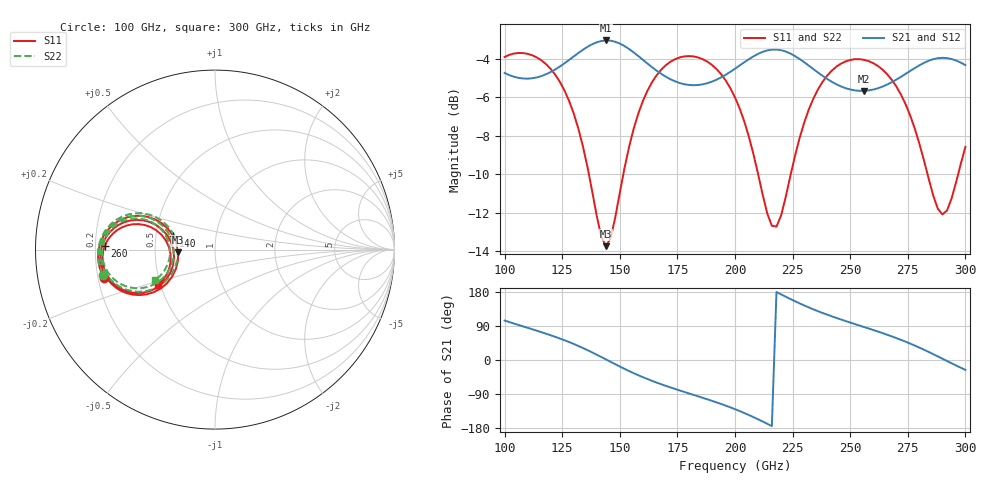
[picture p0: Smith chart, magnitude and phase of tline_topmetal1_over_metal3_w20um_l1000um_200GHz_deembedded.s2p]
! Created with skrf 2.0.1 (http://scikit-rf.org).
# GHz S DB R 50.0
!freq dBS11 angS11 dBS21 angS21 dBS12 angS12 dBS22 angS22
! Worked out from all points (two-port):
!   101 points, 100 GHz to 300 GHz, reference 50 ohm
!   highest |S21| = -3.05 dB at 144 GHz (marker M1); lowest = -5.7 dB at 256 GHz (marker M2)
!   |S21| within 3 dB of the highest: start of sweep to end of sweep
!   lowest |S11| = -13.7 dB at 144 GHz (marker M3), VSWR 1.52, Z = 32.9 - j0.962 ohm
!   |S11| at or under -10 dB: 136.6 GHz to 151.5 GHz (14.94 GHz wide, 10.4 % of centre); 210.1 GHz to 224.2 GHz (14.14 GHz wide, 6.51 % of centre); 283.6 GHz to 296.8 GHz (13.26 GHz wide, 4.57 % of centre)
!   |S22| runs from -13.7 to -3.7 dB; largest |S21 - S12| = 7.7e-14
!   S11 on the Smith chart (normalised r, x): 100 GHz: 0.22, -0.12; 140 GHz: 0.61, +0.10; 260 GHz: 0.24, +0.02; 300 GHz: 0.49, -0.22
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100  -3.91 -165.6  -4.74 104.1  -4.74 104.1  -3.91 -167.1
116  -4.09 172.8  -4.90 73.4  -4.90 73.4  -4.09 171.0
126  -5.65 159.9  -4.24 52.1  -4.24 52.1  -5.66 157.9
134  -8.55 153.2  -3.53 31.6  -3.53 31.6  -8.55 151.2
140  -12.16 161.7  -3.15 14.0  -3.15 14.0  -12.16 159.6
144  -13.73 -176.1  -3.05 1.5  -3.05 1.5  -13.72 -178.3
156  -7.65 -145.2  -3.67 -34.7  -3.67 -34.7  -7.65 -147.6
168  -4.57 -159.0  -4.79 -64.0  -4.79 -64.0  -4.57 -161.6
184  -3.93 -179.6  -5.36 -95.9  -5.36 -95.9  -3.94 177.5
200  -6.01 161.2  -4.52 -129.8  -4.52 -129.8  -6.01 158.1
208  -8.95 157.3  -3.88 -150.7  -3.88 -150.7  -8.96 154.1
214  -12.03 169.6  -3.57 -168.4  -3.57 -168.4  -12.04 166.3
218  -12.71 -170.1  -3.52 179.3  -3.52 179.3  -12.72 -173.4
226  -9.06 -147.1  -3.86 155.2  -3.86 155.2  -9.07 -150.5
234  -6.07 -150.8  -4.54 133.7  -4.54 133.7  -6.08 -154.3
246  -4.26 -165.0  -5.44 106.9  -5.44 106.9  -4.26 -168.7
256  -4.06 -177.1  -5.67 87.1  -5.67 87.1  -4.06 179.0
260  -4.23 178.1  -5.60 79.2  -5.60 79.2  -4.23 174.2
268  -5.09 168.9  -5.22 62.4  -5.22 62.4  -5.09 164.9
280  -8.40 160.7  -4.34 32.8  -4.34 32.8  -8.38 156.6
290  -12.08 -174.7  -3.95 3.5  -3.95 3.5  -12.02 -179.2
300  -8.57 -148.3  -4.33 -26.1  -4.33 -26.1  -8.56 -153.2
